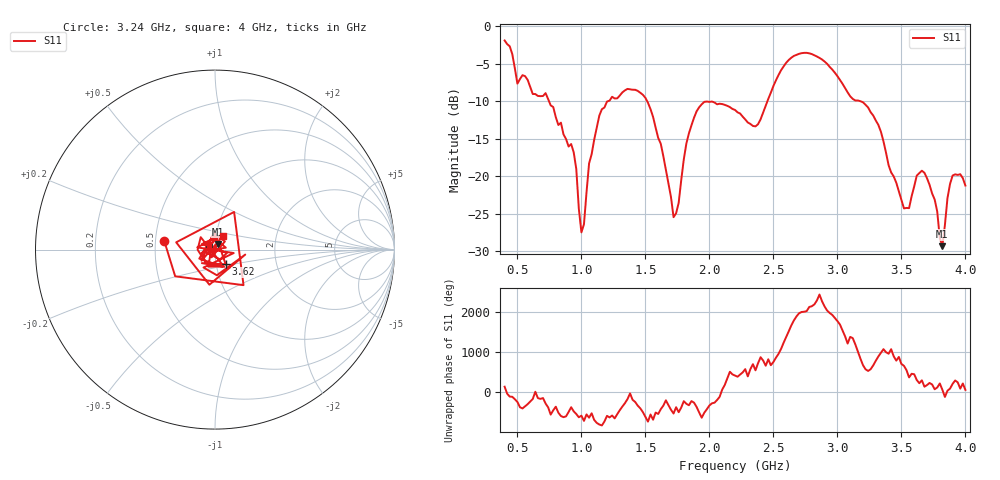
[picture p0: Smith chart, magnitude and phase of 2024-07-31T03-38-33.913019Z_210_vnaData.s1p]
!Created with skrf (http://scikit-rf.org).
# Hz S RI R 50.0
!freq ReS11 ImS11
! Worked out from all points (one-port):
!   181 points, 400 MHz to 4 GHz, reference 50 ohm
!   lowest |S11| = -29.3 dB at 3.82 GHz (marker M1), VSWR 1.07, Z = 51.3 + j3.19 ohm
!   |S11| at or under -10 dB: 746.9 MHz to 1.206 GHz (459.3 MHz wide, 47 % of centre); 1.514 GHz to 2.453 GHz (939.4 MHz wide, 47.4 % of centre); 3.181 GHz to end of sweep
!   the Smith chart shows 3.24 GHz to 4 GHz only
!   S11 on the Smith chart (normalised r, x): 3.24 GHz: 0.56, +0.06; 3.62 GHz: 1.11, -0.18; 4 GHz: 1.08, +0.16
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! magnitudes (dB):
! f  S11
! 400 MHz  -1.9
! 500 MHz  -7.7
! 720 MHz  -8.9
! 860 MHz  -14.4
! 940 MHz  -16.8
! 1 GHz  -27.5
! 1.02 GHz  -26.4
! 1.06 GHz  -18.3
! 1.14 GHz  -11.9
! 1.3 GHz  -9.2
! 1.5 GHz  -9.5
! 1.62 GHz  -15.7
! 1.72 GHz  -25.5
! 1.76 GHz  -23.5
! 1.82 GHz  -15.6
! 1.9 GHz  -11.3
! 2.2 GHz  -11.2
! 2.38 GHz  -13.1
! 2.66 GHz  -4.0
! 2.88 GHz  -4.4
! 3.1 GHz  -9.3
! 3.24 GHz  -10.8
! 3.56 GHz  -24.3
! 3.62 GHz  -19.9
! 3.72 GHz  -21.1
! 3.82 GHz  -29.3
! 3.9 GHz  -19.9
! 4 GHz  -21.2
